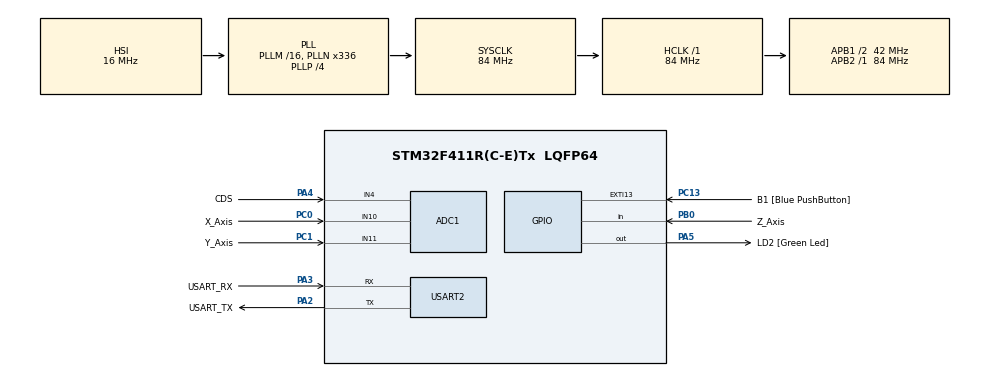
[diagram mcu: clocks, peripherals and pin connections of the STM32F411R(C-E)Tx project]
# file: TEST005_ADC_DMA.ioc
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ADC1.Channel-0\#ChannelRegularConversion=ADC_CHANNEL_10
ADC1.Channel-1\#ChannelRegularConversion=ADC_CHANNEL_11
ADC1.Channel-2\#ChannelRegularConversion=ADC_CHANNEL_4
ADC1.ContinuousConvMode=DISABLE
ADC1.DMAContinuousRequests=ENABLE
ADC1.DiscontinuousConvMode=ENABLE
ADC1.EOCSelection=ADC_EOC_SEQ_CONV
ADC1.ExternalTrigConv=ADC_EXTERNALTRIGCONV_T3_TRGO
ADC1.NbrOfConversion=3
ADC1.NbrOfConversionFlag=1
ADC1.Rank-0\#ChannelRegularConversion=1
ADC1.Rank-1\#ChannelRegularConversion=2
ADC1.Rank-2\#ChannelRegularConversion=3
ADC1.SamplingTime-0\#ChannelRegularConversion=ADC_SAMPLETIME_3CYCLES
ADC1.SamplingTime-1\#ChannelRegularConversion=ADC_SAMPLETIME_3CYCLES
ADC1.SamplingTime-2\#ChannelRegularConversion=ADC_SAMPLETIME_3CYCLES
ADC1.ScanConvMode=ENABLE
ADC1.master=1
Dma.ADC1.0.Direction=DMA_PERIPH_TO_MEMORY
Dma.ADC1.0.FIFOMode=DMA_FIFOMODE_DISABLE
Dma.ADC1.0.Instance=DMA2_Stream0
Dma.ADC1.0.MemDataAlignment=DMA_MDATAALIGN_HALFWORD
Dma.ADC1.0.MemInc=DMA_MINC_ENABLE
Dma.ADC1.0.Mode=DMA_CIRCULAR
Dma.ADC1.0.PeriphDataAlignment=DMA_PDATAALIGN_HALFWORD
Dma.ADC1.0.PeriphInc=DMA_PINC_DISABLE
Dma.ADC1.0.Priority=DMA_PRIORITY_LOW
Dma.Request0=ADC1
Mcu.Family=STM32F4
Mcu.Name=STM32F411R(C-E)Tx
Mcu.Package=LQFP64
NVIC.ADC_IRQn=true\:0\:0\:false\:false\:true\:true\:true\:true
NVIC.DMA2_Stream0_IRQn=true\:0\:0\:false\:false\:true\:false\:true\:true
NVIC.EXTI15_10_IRQn=true\:0\:0\:false\:false\:true\:true\:true\:true
NVIC.PriorityGroup=NVIC_PRIORITYGROUP_0
PA13.GPIO_Label=TMS
PA13.Mode=Serial_Wire
PA13.Signal=SYS_JTMS-SWDIO
PA14.GPIO_Label=TCK
PA14.Mode=Serial_Wire
PA14.Signal=SYS_JTCK-SWCLK
PA2.GPIO_Label=USART_TX
PA2.Mode=Asynchronous
PA2.Signal=USART2_TX
PA3.GPIO_Label=USART_RX
PA3.Mode=Asynchronous
PA3.Signal=USART2_RX
PA4.GPIO_Label=CDS
PA4.Signal=ADCx_IN4
PA5.GPIO_Label=LD2 [Green Led]
PA5.Signal=GPIO_Output
PB0.GPIO_Label=Z_Axis
PB0.GPIO_PuPd=GPIO_PULLUP
PB0.Signal=GPIO_Input
PB3.GPIO_Label=SWO
PB3.Signal=SYS_JTDO-SWO
PC0.GPIO_Label=X_Axis
PC0.Signal=ADCx_IN10
PC1.GPIO_Label=Y_Axis
PC1.Signal=ADCx_IN11
PC13-ANTI_TAMP.GPIO_Label=B1 [Blue PushButton]
PC13-ANTI_TAMP.Signal=GPXTI13
PC14-OSC32_IN.Mode=LSE-External-Oscillator
PC14-OSC32_IN.Signal=RCC_OSC32_IN
PC15-OSC32_OUT.Mode=LSE-External-Oscillator
PC15-OSC32_OUT.Signal=RCC_OSC32_OUT
PH0\ -\ OSC_IN.Mode=HSE-External-Clock-Source
PH0\ -\ OSC_IN.Signal=RCC_OSC_IN
PH1\ -\ OSC_OUT.Mode=HSE-External-Clock-Source
PH1\ -\ OSC_OUT.Signal=RCC_OSC_OUT
ProjectManager.HeapSize=0x200
ProjectManager.StackSize=0x400
ProjectManager.TargetToolchain=STM32CubeIDE
RCC.48MHZClocksFreq_Value=84000000
RCC.AHBFreq_Value=84000000
RCC.APB1CLKDivider=RCC_HCLK_DIV2
RCC.APB1Freq_Value=42000000
RCC.APB1TimFreq_Value=84000000
RCC.APB2Freq_Value=84000000
RCC.APB2TimFreq_Value=84000000
RCC.CortexFreq_Value=84000000
RCC.FLatency-AdvancedSettings=FLASH_LATENCY_2
RCC.HCLKFreq_Value=84000000
RCC.HSE_VALUE=8000000
RCC.HSI_VALUE=16000000
RCC.PLLN=336
RCC.PLLP=RCC_PLLP_DIV4
RCC.SYSCLKFreq_VALUE=84000000
RCC.SYSCLKSource=RCC_SYSCLKSOURCE_PLLCLK
RCC.VCOOutputFreq_Value=336000000
SH.ADCx_IN10.0=ADC1_IN10,IN10
SH.ADCx_IN11.0=ADC1_IN11,IN11
SH.ADCx_IN4.0=ADC1_IN4,IN4
TIM3.Period=1000-1
TIM3.Prescaler=8400-1
TIM3.TIM_MasterOutputTrigger=TIM_TRGO_UPDATE
USART2.VirtualMode=VM_ASYNC
VP_TIM3_VS_ClockSourceINT.Mode=Internal
board=NUCLEO-F411RE

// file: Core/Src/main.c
/* USER CODE BEGIN Header */
/**
  ******************************************************************************
  * @file           : main.c
  * @brief          : Main program body
  ******************************************************************************
  * @attention
  *
  * Copyright (c) 2024 STMicroelectronics.
  * All rights reserved.
  *
  * This software is licensed under terms that can be found in the LICENSE file
  * in the root directory of this software component.
  * If no LICENSE file comes with this software, it is provided AS-IS.
  *
  ******************************************************************************
  */
/* USER CODE END Header */
#include "main.h"

ADC_HandleTypeDef hadc1;
DMA_HandleTypeDef hdma_adc1;

TIM_HandleTypeDef htim3;

UART_HandleTypeDef huart2;

void SystemClock_Config(void);
static void MX_GPIO_Init(void);
static void MX_DMA_Init(void);
static void MX_USART2_UART_Init(void);
static void MX_ADC1_Init(void);
static void MX_TIM3_Init(void);

/* USER CODE BEGIN 0 */

union
{
   char    buf[500];
   short    v1[10];
   int    v2[20];
   long    v3[10];
} buf;

void HAL_ADC_ConvCpltCallback(ADC_HandleTypeDef *hadc)
{

}

int mode = 0;
void HAL_GPIO_EXTI_Callback(uint16_t GPIO_Pin)
{
   if(++mode > 5) mode = 1;
   cls();   //Terminal screen clear
}

/* USER CODE END 0 */

int main(void)
{

  /* MCU Configuration--------------------------------------------------------*/

  /* Reset of all peripherals, Initializes the Flash interface and the Systick. */
  HAL_Init();

  /* Configure the system clock */
  SystemClock_Config();

  /* Initialize all configured peripherals */
  MX_GPIO_Init();
  MX_DMA_Init();
  MX_USART2_UART_Init();
  MX_ADC1_Init();
  MX_TIM3_Init();
  /* USER CODE BEGIN 2 */

  ProgramStart("ADC - DMA");
  HAL_TIM_Base_Start(&htim3);
  HAL_ADC_Start_DMA(&hadc1, &buf, 3);

  /* USER CODE END 2 */

  /* Infinite loop */
  /* USER CODE BEGIN WHILE */
  int lm = 1;
  while (1)
  {
    /* USER CODE END WHILE */

    /* USER CODE BEGIN 3 */
     switch(mode)
     {
     case 1:
        if(lm != mode) {cls(); lm = mode;}
        int z = HAL_GPIO_ReadPin(Z_Axis_GPIO_Port,Z_Axis_Pin);
        printf("\033[3;0H   ?��?���? 좌표: P(%d,%d,%d):%d    \n", buf.v1[0], buf.v1[1], z, buf.v1[2]);
        break;
     case 2:
        if(lm != mode) {cls(); lm = mode;}
        printf("\033[7;0H            < 메모리 덤프 모드 >\r\n");
        printf("\033[9;0H");
        for (int j = 0; j < 15; j++)
        {
           for (int i = 0; i < 16; i++)
           {
              printf("%02x ",(unsigned)buf.buf[16*j+i]);
              if(i == 7) printf("  ");
           }
           printf("\r\n");
        }
        break;
     case 3:
        if(lm != mode) {cls(); lm = mode;}
        printf("\033[7;0H            < 메모리 쇼트 모드 >\r\n");
        printf("\033[9;0H");
        for (int j = 0; j < 15; j++)
        {
           for (int i = 0; i < 16; i++)
           {
              printf("%04x ",(unsigned)buf.v1[16*j+i]);
              if(i == 7) printf("  ");
           }
           printf("\r\n");
        }
        break;
     case 4:
        if(lm != mode) {cls(); lm = mode;}
        printf("\033[7;0H            < 메모리 인트 모드 >\r\n");
        printf("\033[9;0H");
        for (int j = 0; j < 20; j++)
        {
           for (int i = 0; i < 4; i++)
           {
              printf("%08x ",(unsigned)buf.v2[4*j+i]);
              if(i == 7) printf("  ");
           }
           printf("\r\n");
        }
     case 5:
        if(lm != mode) {cls(); lm = mode;}
        printf("\033[7;0H            < 메모리 롱 모드 >\r\n");
        printf("\033[9;0H");
        for (int j = 0; j < 20; j++)
        {
           for (int i = 0; i < 4; i++)
           {
              printf("%08X ",(unsigned)buf.v3[4*j+i]);
              if(i == 7) printf("  ");
           }
           printf("\r\n");
        }
     break;
     default:
     break;
     }
  }
  /* USER CODE END 3 */
}

void SystemClock_Config(void)
{
  RCC_OscInitTypeDef RCC_OscInitStruct = {0};
  RCC_ClkInitTypeDef RCC_ClkInitStruct = {0};

  /** Configure the main internal regulator output voltage
  */
  __HAL_RCC_PWR_CLK_ENABLE();
  __HAL_PWR_VOLTAGESCALING_CONFIG(PWR_REGULATOR_VOLTAGE_SCALE1);

  /** Initializes the RCC Oscillators according to the specified parameters
  * in the RCC_OscInitTypeDef structure.
  */
  RCC_OscInitStruct.OscillatorType = RCC_OSCILLATORTYPE_HSI;
  RCC_OscInitStruct.HSIState = RCC_HSI_ON;
  RCC_OscInitStruct.HSICalibrationValue = RCC_HSICALIBRATION_DEFAULT;
  RCC_OscInitStruct.PLL.PLLState = RCC_PLL_ON;
  RCC_OscInitStruct.PLL.PLLSource = RCC_PLLSOURCE_HSI;
  RCC_OscInitStruct.PLL.PLLM = 16;
  RCC_OscInitStruct.PLL.PLLN = 336;
  RCC_OscInitStruct.PLL.PLLP = RCC_PLLP_DIV4;
  RCC_OscInitStruct.PLL.PLLQ = 4;
  if (HAL_RCC_OscConfig(&RCC_OscInitStruct) != HAL_OK)
  {
    Error_Handler();
  }

  /** Initializes the CPU, AHB and APB buses clocks
  */
  RCC_ClkInitStruct.ClockType = RCC_CLOCKTYPE_HCLK|RCC_CLOCKTYPE_SYSCLK
                              |RCC_CLOCKTYPE_PCLK1|RCC_CLOCKTYPE_PCLK2;
  RCC_ClkInitStruct.SYSCLKSource = RCC_SYSCLKSOURCE_PLLCLK;
  RCC_ClkInitStruct.AHBCLKDivider = RCC_SYSCLK_DIV1;
  RCC_ClkInitStruct.APB1CLKDivider = RCC_HCLK_DIV2;
  RCC_ClkInitStruct.APB2CLKDivider = RCC_HCLK_DIV1;

  if (HAL_RCC_ClockConfig(&RCC_ClkInitStruct, FLASH_LATENCY_2) != HAL_OK)
  {
    Error_Handler();
  }
}

static void MX_ADC1_Init(void)
{

  ADC_ChannelConfTypeDef sConfig = {0};

  /** Configure the global features of the ADC (Clock, Resolution, Data Alignment and number of conversion)
  */
  hadc1.Instance = ADC1;
  hadc1.Init.ClockPrescaler = ADC_CLOCK_SYNC_PCLK_DIV4;
  hadc1.Init.Resolution = ADC_RESOLUTION_12B;
  hadc1.Init.ScanConvMode = ENABLE;
  hadc1.Init.ContinuousConvMode = DISABLE;
  hadc1.Init.DiscontinuousConvMode = ENABLE;
  hadc1.Init.NbrOfDiscConversion = 1;
  hadc1.Init.ExternalTrigConvEdge = ADC_EXTERNALTRIGCONVEDGE_RISING;
  hadc1.Init.ExternalTrigConv = ADC_EXTERNALTRIGCONV_T3_TRGO;
  hadc1.Init.DataAlign = ADC_DATAALIGN_RIGHT;
  hadc1.Init.NbrOfConversion = 3;
  hadc1.Init.DMAContinuousRequests = ENABLE;
  hadc1.Init.EOCSelection = ADC_EOC_SEQ_CONV;
  if (HAL_ADC_Init(&hadc1) != HAL_OK)
  {
    Error_Handler();
  }

  /** Configure for the selected ADC regular channel its corresponding rank in the sequencer and its sample time.
  */
  sConfig.Channel = ADC_CHANNEL_10;
  sConfig.Rank = 1;
  sConfig.SamplingTime = ADC_SAMPLETIME_3CYCLES;
  if (HAL_ADC_ConfigChannel(&hadc1, &sConfig) != HAL_OK)
  {
    Error_Handler();
  }

  /** Configure for the selected ADC regular channel its corresponding rank in the sequencer and its sample time.
  */
  sConfig.Channel = ADC_CHANNEL_11;
  sConfig.Rank = 2;
  if (HAL_ADC_ConfigChannel(&hadc1, &sConfig) != HAL_OK)
  {
    Error_Handler();
  }

  /** Configure for the selected ADC regular channel its corresponding rank in the sequencer and its sample time.
  */
  sConfig.Channel = ADC_CHANNEL_4;
  sConfig.Rank = 3;
  if (HAL_ADC_ConfigChannel(&hadc1, &sConfig) != HAL_OK)
  {
    Error_Handler();
  }

}

static void MX_TIM3_Init(void)
{

  TIM_ClockConfigTypeDef sClockSourceConfig = {0};
  TIM_MasterConfigTypeDef sMasterConfig = {0};

  htim3.Instance = TIM3;
  htim3.Init.Prescaler = 8400-1;
  htim3.Init.CounterMode = TIM_COUNTERMODE_UP;
  htim3.Init.Period = 1000-1;
  htim3.Init.ClockDivision = TIM_CLOCKDIVISION_DIV1;
  htim3.Init.AutoReloadPreload = TIM_AUTORELOAD_PRELOAD_DISABLE;
  if (HAL_TIM_Base_Init(&htim3) != HAL_OK)
  {
    Error_Handler();
  }
  sClockSourceConfig.ClockSource = TIM_CLOCKSOURCE_INTERNAL;
  if (HAL_TIM_ConfigClockSource(&htim3, &sClockSourceConfig) != HAL_OK)
  {
    Error_Handler();
  }
  sMasterConfig.MasterOutputTrigger = TIM_TRGO_UPDATE;
  sMasterConfig.MasterSlaveMode = TIM_MASTERSLAVEMODE_DISABLE;
  if (HAL_TIMEx_MasterConfigSynchronization(&htim3, &sMasterConfig) != HAL_OK)
  {
    Error_Handler();
  }

}

static void MX_USART2_UART_Init(void)
{

  huart2.Instance = USART2;
  huart2.Init.BaudRate = 115200;
  huart2.Init.WordLength = UART_WORDLENGTH_8B;
  huart2.Init.StopBits = UART_STOPBITS_1;
  huart2.Init.Parity = UART_PARITY_NONE;
  huart2.Init.Mode = UART_MODE_TX_RX;
  huart2.Init.HwFlowCtl = UART_HWCONTROL_NONE;
  huart2.Init.OverSampling = UART_OVERSAMPLING_16;
  if (HAL_UART_Init(&huart2) != HAL_OK)
  {
    Error_Handler();
  }

}

static void MX_DMA_Init(void)
{

  /* DMA controller clock enable */
  __HAL_RCC_DMA2_CLK_ENABLE();

  /* DMA interrupt init */
  /* DMA2_Stream0_IRQn interrupt configuration */
  HAL_NVIC_SetPriority(DMA2_Stream0_IRQn, 0, 0);
  HAL_NVIC_EnableIRQ(DMA2_Stream0_IRQn);

}

static void MX_GPIO_Init(void)
{
  GPIO_InitTypeDef GPIO_InitStruct = {0};

  /* GPIO Ports Clock Enable */
  __HAL_RCC_GPIOC_CLK_ENABLE();
  __HAL_RCC_GPIOH_CLK_ENABLE();
  __HAL_RCC_GPIOA_CLK_ENABLE();
  __HAL_RCC_GPIOB_CLK_ENABLE();

  /*Configure GPIO pin Output Level */
  HAL_GPIO_WritePin(LD2_GPIO_Port, LD2_Pin, GPIO_PIN_RESET);

  /*Configure GPIO pin : B1_Pin */
  GPIO_InitStruct.Pin = B1_Pin;
  GPIO_InitStruct.Mode = GPIO_MODE_IT_RISING;
  GPIO_InitStruct.Pull = GPIO_NOPULL;
  HAL_GPIO_Init(B1_GPIO_Port, &GPIO_InitStruct);

  /*Configure GPIO pin : LD2_Pin */
  GPIO_InitStruct.Pin = LD2_Pin;
  GPIO_InitStruct.Mode = GPIO_MODE_OUTPUT_PP;
  GPIO_InitStruct.Pull = GPIO_NOPULL;
  GPIO_InitStruct.Speed = GPIO_SPEED_FREQ_LOW;
  HAL_GPIO_Init(LD2_GPIO_Port, &GPIO_InitStruct);

  /*Configure GPIO pin : Z_Axis_Pin */
  GPIO_InitStruct.Pin = Z_Axis_Pin;
  GPIO_InitStruct.Mode = GPIO_MODE_INPUT;
  GPIO_InitStruct.Pull = GPIO_PULLUP;
  HAL_GPIO_Init(Z_Axis_GPIO_Port, &GPIO_InitStruct);

  /* EXTI interrupt init*/
  HAL_NVIC_SetPriority(EXTI15_10_IRQn, 0, 0);
  HAL_NVIC_EnableIRQ(EXTI15_10_IRQn);

}

void Error_Handler(void)
{
  __disable_irq();
  while (1)
  {
  }
}
